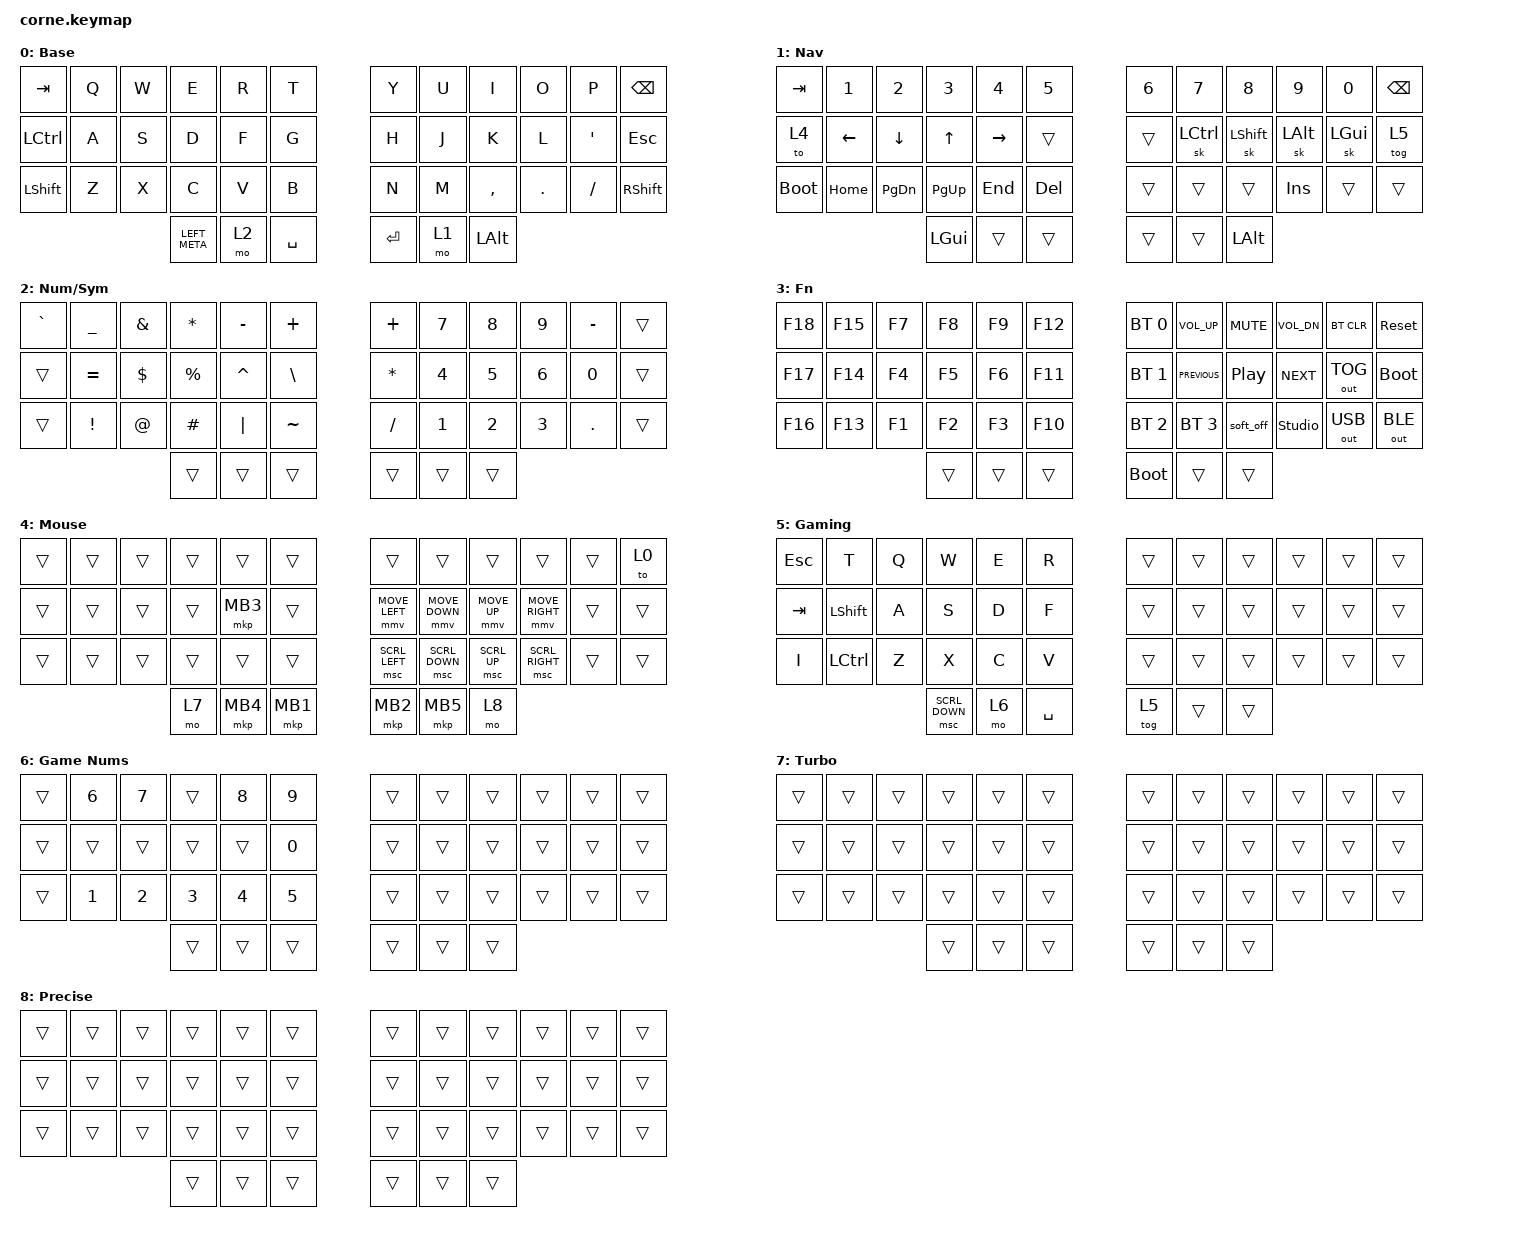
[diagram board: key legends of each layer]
/*
 * Corne — based on cyb3rkun/corneGLP (MIT), adjusted for Jacob:
 *   - Num_Sym: numpad moved to the RIGHT hand, symbols to the left
 *   - Fn layer: power off (hold 2 sec), ZMK Studio unlock, BT profiles 0-3
 *   - Mouse keys on (MouseNav layer), sleep after 30 min (see corne.conf)
 *
 * Thumbs:  GUI | NUM_SYM | SPACE        ENTER | NAV | ALT
 *
 * NUM_SYM (hold left thumb):  numpad on right hand, symbols on left
 * NAV (hold right thumb):     number row 1-0 on top, arrows on A S D F, Home/PgDn/PgUp/End/Del below,
 *                             sticky Ctrl/Shift/Alt/GUI on J K L ;
 * FN (hold BOTH thumbs):      F-keys, media, Bluetooth, power off, Studio unlock
 * Nav + left pinky (Ctrl spot)      = enter Mouse mode (top-right key exits)
 *   in Mouse: hold left outer thumb = TURBO (3x), right outer thumb = PRECISE (1/3)
 * Nav + right pinky (Esc spot)      = toggle Gaming
 */

// Base mouse speed (ZMK default 600). Hold TURBO for 3x, PRECISE for 1/3.
#define ZMK_POINTING_DEFAULT_MOVE_VAL 1200

#include <behaviors.dtsi>
#include <dt-bindings/zmk/bt.h>
#include <dt-bindings/zmk/keys.h>
#include <dt-bindings/zmk/outputs.h>
#include <dt-bindings/zmk/pointing.h>
#include <input/processors.dtsi>

// Mouse speed modifiers: while layer 7 (Turbo) is held, movement x3; layer 8 (Precise), movement /3
&mmv_input_listener {
    turbo {
        layers = <7>;
        input-processors = <&zip_xy_scaler 3 1>;
    };
    precise {
        layers = <8>;
        input-processors = <&zip_xy_scaler 1 3>;
    };
};

// Power-off key must be held 2 seconds so you can't hit it by accident
&soft_off {
    hold-time-ms = <2000>;
};

/ {
    // Press two neighboring keys together (base layer only)
    combos {
        compatible = "zmk,combos";

        semcol            { bindings = <&kp SEMI>;              key-positions = <32 33>; timeout-ms = <50>; layers = <0>; };
        cpslck            { bindings = <&kp CAPSLOCK>;          key-positions = <24 35>; layers = <0>; };
        parentheses_left  { bindings = <&kp LEFT_PARENTHESIS>;  key-positions = <16 15>; layers = <0>; };
        parentheses_right { bindings = <&kp RIGHT_PARENTHESIS>; key-positions = <19 20>; layers = <0>; };
        bracket_left      { bindings = <&kp LEFT_BRACKET>;      key-positions = <3 4>;   layers = <0>; };
        bracket_right     { bindings = <&kp RIGHT_BRACKET>;     key-positions = <8 7>;   layers = <0>; };
        colon             { bindings = <&kp COLON>;             key-positions = <20 21>; layers = <0>; };
        grave             { bindings = <&kp GRAVE>;             key-positions = <15 14>; layers = <0>; };
        brace_left        { bindings = <&kp LEFT_BRACE>;        key-positions = <27 28>; layers = <0>; };
        brace_right       { bindings = <&kp RIGHT_BRACE>;       key-positions = <31 32>; layers = <0>; };
        less_than         { bindings = <&kp LESS_THAN>;         key-positions = <2 3>;   layers = <0>; };
        bigger_than       { bindings = <&kp GREATER_THAN>;      key-positions = <8 9>;   layers = <0>; };
        hyphen            { bindings = <&kp MINUS>;             key-positions = <28 31>; layers = <0>; };
        plus              { bindings = <&kp PLUS>;              key-positions = <4 7>;   layers = <0>; };
        equal             { bindings = <&kp EQUAL>;             key-positions = <16 19>; layers = <0>; };
        pipe              { bindings = <&kp PIPE>;              key-positions = <27 26>; layers = <0>; };
        astrsk            { bindings = <&kp ASTERISK>;          key-positions = <3 8>;   layers = <0>; };
        dollar            { bindings = <&kp DOLLAR>;            key-positions = <15 20>; layers = <0>; };
        excl              { bindings = <&kp EXCL>;              key-positions = <27 32>; layers = <0>; };
        ampersand         { bindings = <&kp AMPERSAND>;         key-positions = <17 18>; layers = <0>; };
        underscore        { bindings = <&kp UNDERSCORE>;        key-positions = <29 30>; layers = <0>; };
        backslash         { bindings = <&kp BACKSLASH>;         key-positions = <21 22>; layers = <0>; };
        tilde             { bindings = <&kp TILDE>;             key-positions = <14 13>; layers = <0>; };
    };

    keymap {
        compatible = "zmk,keymap";

        // 0
        default_layer {
            display-name = "Base";
            bindings = <
&kp TAB         &kp Q  &kp W  &kp E          &kp R  &kp T        &kp Y      &kp U  &kp I         &kp O    &kp P     &kp BSPC
&kp LCTRL       &kp A  &kp S  &kp D          &kp F  &kp G        &kp H      &kp J  &kp K         &kp L    &kp SQT   &kp ESC
&kp LEFT_SHIFT  &kp Z  &kp X  &kp C          &kp V  &kp B        &kp N      &kp M  &kp COMMA     &kp DOT  &kp FSLH  &kp RIGHT_SHIFT
                              &kp LEFT_META  &mo 2  &kp SPACE    &kp ENTER  &mo 1  &kp LEFT_ALT
            >;
        };

        // 1 — hold RIGHT thumb. Full number row, arrows on LEFT hand (A S D F), sticky mods on right
        Nav {
            display-name = "Nav";
            bindings = <
&kp TAB      &kp N1    &kp N2     &kp N3     &kp N4     &kp N5     &kp N6  &kp N7     &kp N8          &kp N9       &kp N0        &kp BSPC
&to 4        &kp LEFT  &kp DOWN   &kp UP     &kp RIGHT  &trans     &trans  &sk LCTRL  &sk LEFT_SHIFT  &sk LEFT_ALT &sk LEFT_GUI  &tog 5
&bootloader  &kp HOME  &kp PG_DN  &kp PG_UP  &kp END    &kp DEL    &trans  &trans     &trans          &kp INS      &trans        &trans
                                  &kp LGUI   &trans     &trans     &trans  &trans     &kp LEFT_ALT
            >;
        };

        // 2 — hold LEFT thumb. Numpad on RIGHT (U I O / J K L / M , .), 0 on ' spot
        // (Nav + this together = Fn layer)
        Num_Sym {
            display-name = "Num/Sym";
            bindings = <
&kp GRAVE  &kp UNDERSCORE  &kp AMPS  &kp STAR   &kp MINUS  &kp PLUS     &kp PLUS  &kp N7  &kp N8  &kp N9  &kp MINUS  &trans
&trans     &kp EQUAL       &kp DLLR  &kp PRCNT  &kp CARET  &kp BSLH     &kp STAR  &kp N4  &kp N5  &kp N6  &kp N0     &trans
&trans     &kp EXCL        &kp AT    &kp HASH   &kp PIPE   &kp TILDE    &kp FSLH  &kp N1  &kp N2  &kp N3  &kp DOT    &trans
                                     &trans     &trans     &trans       &trans    &trans  &trans
            >;
        };

        // 3 — hold BOTH thumbs (Nav + Num_Sym)
        // Right bottom row: BT2  BT3  POWER-OFF(hold 2s)  STUDIO-UNLOCK  USB  BLE
        Fn {
            display-name = "Fn";
            bindings = <
&kp F18  &kp F15  &kp F7  &kp F8  &kp F9  &kp F12    &bt BT_SEL 0  &kp C_VOLUME_UP  &kp C_MUTE        &kp C_VOL_DN    &bt BT_CLR    &sys_reset
&kp F17  &kp F14  &kp F4  &kp F5  &kp F6  &kp F11    &bt BT_SEL 1  &kp C_PREVIOUS   &kp C_PLAY_PAUSE  &kp C_NEXT      &out OUT_TOG  &bootloader
&kp F16  &kp F13  &kp F1  &kp F2  &kp F3  &kp F10    &bt BT_SEL 2  &bt BT_SEL 3     &soft_off         &studio_unlock  &out OUT_USB  &out OUT_BLE
                          &trans  &trans  &trans     &bootloader   &trans           &trans
            >;
        };

        // 4 — entered from Nav (left pinky, Ctrl spot) with &to (bounce-proof). Exit with top-right key (&to 0 = back to Base).
        MouseNav {
            display-name = "Mouse";
            bindings = <
&trans  &trans  &trans  &trans  &trans    &trans      &trans          &trans          &trans        &trans           &trans  &to 0
&trans  &trans  &trans  &trans  &mkp MB3  &trans      &mmv MOVE_LEFT  &mmv MOVE_DOWN  &mmv MOVE_UP  &mmv MOVE_RIGHT  &trans  &trans
&trans  &trans  &trans  &trans  &trans    &trans      &msc SCRL_LEFT  &msc SCRL_DOWN  &msc SCRL_UP  &msc SCRL_RIGHT  &trans  &trans
                        &mo 7   &mkp MB4  &mkp MB1    &mkp MB2        &mkp MB5        &mo 8
            >;
        };

        // 5 — toggled from Nav (right pinky). Exit with Enter-thumb key.
        Gaming1 {
            display-name = "Gaming";
            bindings = <
&kp ESCAPE  &kp T           &kp Q  &kp W           &kp E  &kp R        &trans  &trans  &trans  &trans  &trans  &trans
&kp TAB     &kp LEFT_SHIFT  &kp A  &kp S           &kp D  &kp F        &trans  &trans  &trans  &trans  &trans  &trans
&kp I       &kp LCTRL       &kp Z  &kp X           &kp C  &kp V        &trans  &trans  &trans  &trans  &trans  &trans
                                   &msc SCRL_DOWN  &mo 6  &kp SPACE    &tog 5  &trans  &trans
            >;
        };

        // 6 — hold left-middle thumb while in Gaming: hotbar numbers
        GamingLayer2 {
            display-name = "Game Nums";
            bindings = <
&trans  &kp N6  &kp N7  &trans  &kp N8  &kp N9    &trans  &trans  &trans  &trans  &trans  &trans
&trans  &trans  &trans  &trans  &trans  &kp N0    &trans  &trans  &trans  &trans  &trans  &trans
&trans  &kp N1  &kp N2  &kp N3  &kp N4  &kp N5    &trans  &trans  &trans  &trans  &trans  &trans
                        &trans  &trans  &trans    &trans  &trans  &trans
            >;
        };

        // 7 — hold LEFT OUTER thumb while in Mouse: pointer moves 3x faster (all keys pass through)
        MouseTurbo {
            display-name = "Turbo";
            bindings = <
&trans  &trans  &trans  &trans  &trans  &trans    &trans  &trans  &trans  &trans  &trans  &trans
&trans  &trans  &trans  &trans  &trans  &trans    &trans  &trans  &trans  &trans  &trans  &trans
&trans  &trans  &trans  &trans  &trans  &trans    &trans  &trans  &trans  &trans  &trans  &trans
                        &trans  &trans  &trans    &trans  &trans  &trans
            >;
        };

        // 8 — hold RIGHT OUTER thumb while in Mouse: pointer moves 1/3 speed for precise aiming
        MousePrecise {
            display-name = "Precise";
            bindings = <
&trans  &trans  &trans  &trans  &trans  &trans    &trans  &trans  &trans  &trans  &trans  &trans
&trans  &trans  &trans  &trans  &trans  &trans    &trans  &trans  &trans  &trans  &trans  &trans
&trans  &trans  &trans  &trans  &trans  &trans    &trans  &trans  &trans  &trans  &trans  &trans
                        &trans  &trans  &trans    &trans  &trans  &trans
            >;
        };

        // Spare slots you can turn into new layers from ZMK Studio
        extra1 { status = "reserved"; };
        extra2 { status = "reserved"; };
    };

    conditional_layers {
        compatible = "zmk,conditional-layers";

        func_layer {
            if-layers = <1 2>;
            then-layer = <3>;
        };
    };
};
